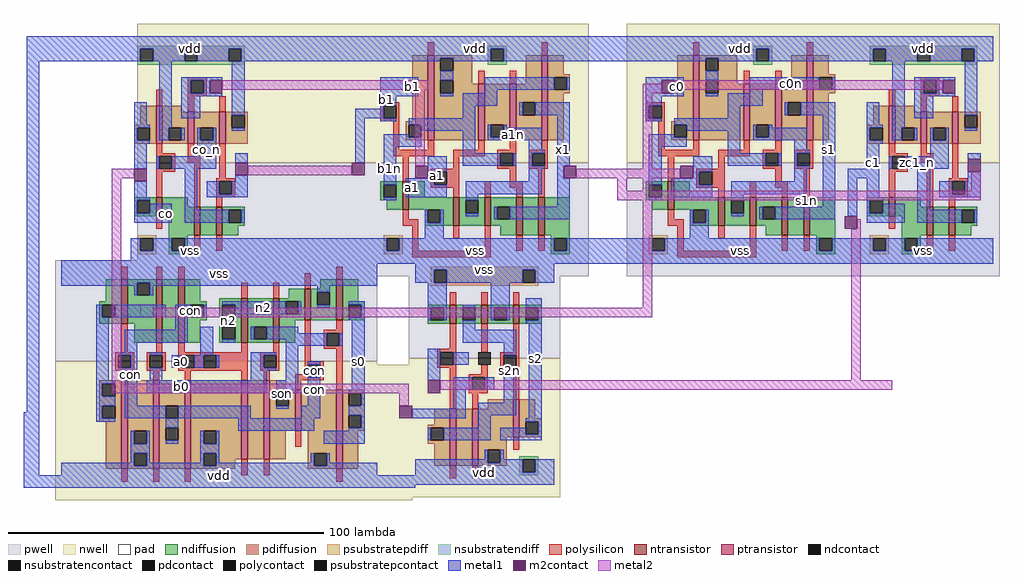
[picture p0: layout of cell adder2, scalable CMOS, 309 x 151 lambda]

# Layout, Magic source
magic
tech scmos
<< pwell >>
rect 174 71 317 102
rect 148 66 317 71
rect 329 66 447 102
rect 148 39 250 66
rect 260 40 308 66
<< nwell >>
rect 174 102 317 146
rect 329 102 447 146
rect 148 38 250 39
rect 260 38 308 40
rect 148 -4 308 38
rect 148 -5 261 -4
<< polysilicon >>
rect 266 136 268 140
rect 190 128 196 129
rect 180 120 182 125
rect 190 124 191 128
rect 195 124 196 128
rect 190 123 196 124
rect 190 118 192 123
rect 200 118 202 123
rect 251 120 257 121
rect 251 116 252 120
rect 256 116 257 120
rect 251 115 257 116
rect 180 105 182 108
rect 190 105 192 108
rect 180 104 186 105
rect 180 100 181 104
rect 185 100 186 104
rect 190 102 194 105
rect 180 99 186 100
rect 180 91 182 99
rect 192 88 194 102
rect 200 97 202 108
rect 255 106 257 115
rect 302 136 304 140
rect 350 136 352 140
rect 282 127 284 131
rect 292 127 294 131
rect 335 120 341 121
rect 335 116 336 120
rect 340 116 341 120
rect 335 115 341 116
rect 266 106 268 109
rect 282 106 284 109
rect 292 106 294 109
rect 302 106 304 109
rect 255 104 268 106
rect 274 104 284 106
rect 288 105 294 106
rect 199 96 205 97
rect 258 96 260 104
rect 274 100 276 104
rect 288 101 289 105
rect 293 101 294 105
rect 288 100 294 101
rect 298 105 304 106
rect 298 101 299 105
rect 303 101 304 105
rect 339 106 341 115
rect 386 136 388 140
rect 366 127 368 131
rect 376 127 378 131
rect 422 128 428 129
rect 412 120 414 125
rect 422 124 423 128
rect 427 124 428 128
rect 422 123 428 124
rect 350 106 352 109
rect 366 106 368 109
rect 376 106 378 109
rect 386 106 388 109
rect 422 118 424 123
rect 432 118 434 123
rect 339 104 352 106
rect 358 104 368 106
rect 372 105 378 106
rect 298 100 304 101
rect 267 99 276 100
rect 199 92 200 96
rect 204 92 205 96
rect 199 91 205 92
rect 199 88 201 91
rect 180 81 182 85
rect 267 95 268 99
rect 272 95 276 99
rect 292 96 294 100
rect 267 94 276 95
rect 274 91 276 94
rect 284 91 286 96
rect 292 94 296 96
rect 294 91 296 94
rect 301 91 303 100
rect 342 96 344 104
rect 358 100 360 104
rect 372 101 373 105
rect 377 101 378 105
rect 372 100 378 101
rect 382 105 388 106
rect 382 101 383 105
rect 387 101 388 105
rect 382 100 388 101
rect 412 105 414 108
rect 422 105 424 108
rect 412 104 418 105
rect 412 100 413 104
rect 417 100 418 104
rect 422 102 426 105
rect 351 99 360 100
rect 258 84 260 87
rect 258 82 263 84
rect 192 74 194 79
rect 199 74 201 79
rect 261 74 263 82
rect 274 78 276 82
rect 284 74 286 82
rect 351 95 352 99
rect 356 95 360 99
rect 376 96 378 100
rect 351 94 360 95
rect 358 91 360 94
rect 368 91 370 96
rect 376 94 380 96
rect 378 91 380 94
rect 385 91 387 100
rect 412 99 418 100
rect 412 91 414 99
rect 342 84 344 87
rect 342 82 347 84
rect 294 74 296 79
rect 301 74 303 79
rect 261 72 286 74
rect 345 74 347 82
rect 358 78 360 82
rect 368 74 370 82
rect 424 88 426 102
rect 432 97 434 108
rect 431 96 437 97
rect 431 92 432 96
rect 436 92 437 96
rect 431 91 437 92
rect 431 88 433 91
rect 412 81 414 85
rect 378 74 380 79
rect 385 74 387 79
rect 345 72 370 74
rect 424 74 426 79
rect 431 74 433 79
rect 169 65 171 69
rect 180 65 182 69
rect 187 65 189 69
rect 169 42 171 51
rect 207 59 209 64
rect 217 59 219 64
rect 227 62 229 67
rect 237 65 239 69
rect 273 57 275 61
rect 283 57 285 61
rect 293 57 295 61
rect 180 42 182 45
rect 187 42 189 45
rect 207 42 209 45
rect 217 42 219 45
rect 167 41 173 42
rect 167 37 168 41
rect 172 37 173 41
rect 167 36 173 37
rect 177 41 183 42
rect 177 37 178 41
rect 182 37 183 41
rect 177 36 183 37
rect 187 41 209 42
rect 187 37 188 41
rect 192 37 195 41
rect 199 37 209 41
rect 187 36 209 37
rect 213 41 219 42
rect 213 37 214 41
rect 218 37 219 41
rect 213 36 219 37
rect 227 39 229 52
rect 237 49 239 52
rect 233 48 239 49
rect 233 44 234 48
rect 238 44 239 48
rect 233 43 239 44
rect 273 43 275 51
rect 227 38 233 39
rect 169 33 171 36
rect 179 33 181 36
rect 189 33 191 36
rect 207 33 209 36
rect 214 33 216 36
rect 227 35 228 38
rect 224 34 228 35
rect 232 34 233 38
rect 224 33 233 34
rect 224 30 226 33
rect 237 30 239 43
rect 269 42 275 43
rect 283 42 285 51
rect 293 42 295 51
rect 269 38 270 42
rect 274 38 275 42
rect 289 41 295 42
rect 269 37 275 38
rect 224 12 226 17
rect 169 1 171 5
rect 179 1 181 5
rect 189 1 191 5
rect 207 3 209 8
rect 214 3 216 8
rect 273 24 275 37
rect 283 35 285 38
rect 289 37 290 41
rect 294 37 295 41
rect 289 36 295 37
rect 279 34 285 35
rect 279 30 280 34
rect 284 30 285 34
rect 279 29 285 30
rect 280 24 282 29
rect 293 27 295 36
rect 293 11 295 15
rect 237 1 239 5
rect 273 2 275 6
rect 280 2 282 6
<< ndiffusion >>
rect 173 90 180 91
rect 173 86 174 90
rect 178 86 180 90
rect 173 85 180 86
rect 182 88 190 91
rect 251 95 258 96
rect 251 91 252 95
rect 256 91 258 95
rect 251 90 258 91
rect 182 85 192 88
rect 184 79 192 85
rect 194 79 199 88
rect 201 87 208 88
rect 253 87 258 90
rect 260 91 265 96
rect 335 95 342 96
rect 335 91 336 95
rect 340 91 342 95
rect 260 87 274 91
rect 201 83 203 87
rect 207 83 208 87
rect 201 82 208 83
rect 265 83 266 87
rect 270 83 274 87
rect 265 82 274 83
rect 276 90 284 91
rect 276 86 278 90
rect 282 86 284 90
rect 276 82 284 86
rect 286 88 294 91
rect 286 84 288 88
rect 292 84 294 88
rect 286 82 294 84
rect 201 79 206 82
rect 184 78 190 79
rect 184 74 185 78
rect 189 74 190 78
rect 184 73 190 74
rect 289 79 294 82
rect 296 79 301 91
rect 303 79 311 91
rect 335 90 342 91
rect 337 87 342 90
rect 344 91 349 96
rect 344 87 358 91
rect 349 83 350 87
rect 354 83 358 87
rect 349 82 358 83
rect 360 90 368 91
rect 360 86 362 90
rect 366 86 368 90
rect 360 82 368 86
rect 370 88 378 91
rect 370 84 372 88
rect 376 84 378 88
rect 370 82 378 84
rect 305 78 311 79
rect 305 74 306 78
rect 310 74 311 78
rect 305 73 311 74
rect 373 79 378 82
rect 380 79 385 91
rect 387 79 395 91
rect 405 90 412 91
rect 405 86 406 90
rect 410 86 412 90
rect 405 85 412 86
rect 414 88 422 91
rect 414 85 424 88
rect 416 79 424 85
rect 426 79 431 88
rect 433 87 440 88
rect 433 83 435 87
rect 439 83 440 87
rect 433 82 440 83
rect 433 79 438 82
rect 389 78 395 79
rect 389 74 390 78
rect 394 74 395 78
rect 389 73 395 74
rect 416 78 422 79
rect 416 74 417 78
rect 421 74 422 78
rect 416 73 422 74
rect 164 58 169 65
rect 162 57 169 58
rect 162 53 163 57
rect 167 53 169 57
rect 162 51 169 53
rect 171 64 180 65
rect 171 60 174 64
rect 178 60 180 64
rect 171 51 180 60
rect 173 45 180 51
rect 182 45 187 65
rect 189 58 194 65
rect 232 62 237 65
rect 222 59 227 62
rect 189 57 196 58
rect 189 53 191 57
rect 195 53 196 57
rect 189 52 196 53
rect 200 57 207 59
rect 200 53 201 57
rect 205 53 207 57
rect 189 45 194 52
rect 200 50 207 53
rect 200 46 201 50
rect 205 46 207 50
rect 200 45 207 46
rect 209 50 217 59
rect 209 46 211 50
rect 215 46 217 50
rect 209 45 217 46
rect 219 58 227 59
rect 219 54 221 58
rect 225 54 227 58
rect 219 52 227 54
rect 229 61 237 62
rect 229 57 231 61
rect 235 57 237 61
rect 229 52 237 57
rect 239 58 244 65
rect 239 57 246 58
rect 239 53 241 57
rect 245 53 246 57
rect 239 52 246 53
rect 266 56 273 57
rect 266 52 267 56
rect 271 52 273 56
rect 219 45 224 52
rect 266 51 273 52
rect 275 56 283 57
rect 275 52 277 56
rect 281 52 283 56
rect 275 51 283 52
rect 285 56 293 57
rect 285 52 287 56
rect 291 52 293 56
rect 285 51 293 52
rect 295 56 302 57
rect 295 52 297 56
rect 301 52 302 56
rect 295 51 302 52
<< pdiffusion >>
rect 175 114 180 120
rect 173 113 180 114
rect 173 109 174 113
rect 178 109 180 113
rect 173 108 180 109
rect 182 118 188 120
rect 182 113 190 118
rect 182 109 184 113
rect 188 109 190 113
rect 182 108 190 109
rect 192 113 200 118
rect 192 109 194 113
rect 198 109 200 113
rect 192 108 200 109
rect 202 117 209 118
rect 202 113 204 117
rect 208 113 209 117
rect 261 115 266 136
rect 202 108 209 113
rect 259 114 266 115
rect 259 110 260 114
rect 264 110 266 114
rect 259 109 266 110
rect 268 135 280 136
rect 268 131 270 135
rect 274 131 280 135
rect 268 128 280 131
rect 268 124 270 128
rect 274 127 280 128
rect 297 127 302 136
rect 274 124 282 127
rect 268 109 282 124
rect 284 114 292 127
rect 284 110 286 114
rect 290 110 292 114
rect 284 109 292 110
rect 294 121 302 127
rect 294 117 296 121
rect 300 117 302 121
rect 294 109 302 117
rect 304 130 309 136
rect 304 129 311 130
rect 304 125 306 129
rect 310 125 311 129
rect 304 124 311 125
rect 304 109 309 124
rect 345 115 350 136
rect 343 114 350 115
rect 343 110 344 114
rect 348 110 350 114
rect 343 109 350 110
rect 352 135 364 136
rect 352 131 354 135
rect 358 131 364 135
rect 352 128 364 131
rect 352 124 354 128
rect 358 127 364 128
rect 381 127 386 136
rect 358 124 366 127
rect 352 109 366 124
rect 368 114 376 127
rect 368 110 370 114
rect 374 110 376 114
rect 368 109 376 110
rect 378 121 386 127
rect 378 117 380 121
rect 384 117 386 121
rect 378 109 386 117
rect 388 130 393 136
rect 388 129 395 130
rect 388 125 390 129
rect 394 125 395 129
rect 388 124 395 125
rect 388 109 393 124
rect 407 114 412 120
rect 405 113 412 114
rect 405 109 406 113
rect 410 109 412 113
rect 405 108 412 109
rect 414 118 420 120
rect 414 113 422 118
rect 414 109 416 113
rect 420 109 422 113
rect 414 108 422 109
rect 424 113 432 118
rect 424 109 426 113
rect 430 109 432 113
rect 424 108 432 109
rect 434 117 441 118
rect 434 113 436 117
rect 440 113 441 117
rect 434 108 441 113
rect 162 32 169 33
rect 162 28 163 32
rect 167 28 169 32
rect 162 25 169 28
rect 162 21 163 25
rect 167 21 169 25
rect 162 20 169 21
rect 164 5 169 20
rect 171 17 179 33
rect 171 13 173 17
rect 177 13 179 17
rect 171 10 179 13
rect 171 6 173 10
rect 177 6 179 10
rect 171 5 179 6
rect 181 25 189 33
rect 181 21 183 25
rect 187 21 189 25
rect 181 18 189 21
rect 181 14 183 18
rect 187 14 189 18
rect 181 5 189 14
rect 191 17 207 33
rect 191 13 195 17
rect 199 13 207 17
rect 191 10 207 13
rect 191 6 195 10
rect 199 8 207 10
rect 209 8 214 33
rect 216 30 221 33
rect 216 29 224 30
rect 216 25 218 29
rect 222 25 224 29
rect 216 17 224 25
rect 226 17 237 30
rect 216 8 221 17
rect 228 10 237 17
rect 199 6 205 8
rect 191 5 205 6
rect 228 6 230 10
rect 234 6 237 10
rect 228 5 237 6
rect 239 29 246 30
rect 239 25 241 29
rect 245 25 246 29
rect 239 22 246 25
rect 285 24 293 27
rect 239 18 241 22
rect 245 18 246 22
rect 268 19 273 24
rect 239 17 246 18
rect 266 18 273 19
rect 239 5 244 17
rect 266 14 267 18
rect 271 14 273 18
rect 266 13 273 14
rect 268 6 273 13
rect 275 6 280 24
rect 282 15 293 24
rect 295 21 300 27
rect 295 20 302 21
rect 295 16 297 20
rect 301 16 302 20
rect 295 15 302 16
rect 282 11 291 15
rect 282 7 285 11
rect 289 7 291 11
rect 282 6 291 7
<< metal1 >>
rect 139 138 445 142
rect 139 134 175 138
rect 179 134 189 138
rect 193 134 203 138
rect 207 135 286 138
rect 207 134 270 135
rect 139 23 143 134
rect 173 114 177 121
rect 173 113 178 114
rect 173 109 174 113
rect 181 113 185 134
rect 188 128 201 129
rect 188 124 191 128
rect 195 124 197 128
rect 188 123 201 124
rect 188 116 194 123
rect 204 117 208 134
rect 274 134 286 135
rect 290 135 370 138
rect 290 134 354 135
rect 251 123 263 129
rect 270 128 274 131
rect 358 134 370 135
rect 374 134 407 138
rect 411 134 421 138
rect 425 134 435 138
rect 439 134 445 138
rect 284 125 306 129
rect 310 125 311 129
rect 335 128 347 129
rect 284 124 288 125
rect 270 123 274 124
rect 251 120 256 123
rect 251 119 252 120
rect 181 109 184 113
rect 188 109 189 113
rect 193 109 194 113
rect 198 109 199 113
rect 204 112 208 113
rect 243 116 252 119
rect 277 120 288 124
rect 335 124 340 128
rect 344 124 347 128
rect 335 123 347 124
rect 354 128 358 131
rect 368 125 390 129
rect 394 125 395 129
rect 368 124 372 125
rect 354 123 358 124
rect 277 116 281 120
rect 295 117 296 121
rect 300 117 311 121
rect 173 108 178 109
rect 173 100 177 108
rect 193 104 199 109
rect 180 100 181 104
rect 185 100 199 104
rect 205 102 209 105
rect 243 102 246 116
rect 251 115 256 116
rect 260 114 281 116
rect 173 91 177 96
rect 173 90 178 91
rect 173 86 174 90
rect 178 86 185 89
rect 173 83 185 86
rect 189 87 193 100
rect 252 110 260 111
rect 264 112 281 114
rect 252 107 264 110
rect 205 96 209 98
rect 196 92 200 96
rect 204 92 209 96
rect 196 91 209 92
rect 252 95 256 107
rect 277 105 281 112
rect 285 110 286 114
rect 290 113 291 114
rect 290 110 302 113
rect 285 109 302 110
rect 298 106 302 109
rect 298 105 303 106
rect 266 99 272 104
rect 277 101 289 105
rect 293 101 294 105
rect 298 101 299 105
rect 266 97 268 99
rect 259 95 268 97
rect 298 100 303 101
rect 307 101 311 117
rect 335 120 340 123
rect 335 116 336 120
rect 361 120 372 124
rect 361 116 365 120
rect 379 117 380 121
rect 384 117 395 121
rect 335 115 340 116
rect 344 114 365 116
rect 336 110 344 111
rect 348 112 365 114
rect 336 107 348 110
rect 298 96 302 100
rect 259 91 272 95
rect 278 92 302 96
rect 307 97 309 101
rect 252 90 256 91
rect 278 90 282 92
rect 189 83 203 87
rect 207 83 208 87
rect 265 83 266 87
rect 270 83 271 87
rect 307 88 311 97
rect 336 95 340 107
rect 361 105 365 112
rect 369 110 370 114
rect 374 113 375 114
rect 374 110 386 113
rect 369 109 386 110
rect 382 106 386 109
rect 382 105 387 106
rect 350 99 356 104
rect 361 101 373 105
rect 377 101 378 105
rect 382 101 383 105
rect 350 97 352 99
rect 343 95 352 97
rect 382 100 387 101
rect 382 96 386 100
rect 343 91 356 95
rect 362 92 386 96
rect 336 90 340 91
rect 362 90 366 92
rect 278 85 282 86
rect 287 84 288 88
rect 292 84 311 88
rect 265 78 271 83
rect 349 83 350 87
rect 354 83 355 87
rect 391 88 395 117
rect 405 114 409 121
rect 405 113 410 114
rect 405 109 406 113
rect 413 113 417 134
rect 420 128 433 129
rect 420 124 423 128
rect 427 124 429 128
rect 420 123 433 124
rect 420 116 426 123
rect 436 117 440 134
rect 413 109 416 113
rect 420 109 421 113
rect 425 109 426 113
rect 430 109 431 113
rect 436 112 440 113
rect 405 108 410 109
rect 405 100 409 108
rect 425 104 431 109
rect 412 100 413 104
rect 417 100 431 104
rect 437 103 441 105
rect 362 85 366 86
rect 371 84 372 88
rect 376 84 395 88
rect 399 97 409 100
rect 399 85 402 97
rect 349 78 355 83
rect 405 91 409 97
rect 405 90 410 91
rect 405 86 406 90
rect 410 86 417 89
rect 405 83 417 86
rect 421 87 425 100
rect 437 96 441 99
rect 428 92 432 96
rect 436 92 441 96
rect 428 91 441 92
rect 421 83 435 87
rect 439 83 440 87
rect 172 74 175 78
rect 179 74 185 78
rect 189 74 253 78
rect 257 74 306 78
rect 310 74 337 78
rect 341 74 390 78
rect 394 74 407 78
rect 411 74 417 78
rect 421 74 445 78
rect 172 71 445 74
rect 150 70 445 71
rect 150 64 250 70
rect 262 68 306 70
rect 262 64 268 68
rect 272 64 296 68
rect 300 64 306 68
rect 150 63 174 64
rect 173 60 174 63
rect 178 63 250 64
rect 178 60 179 63
rect 231 61 235 63
rect 201 57 221 58
rect 138 3 143 23
rect 161 53 163 57
rect 167 53 183 57
rect 186 53 191 57
rect 195 53 196 57
rect 205 54 221 57
rect 225 54 226 58
rect 231 56 235 57
rect 241 57 246 58
rect 161 33 165 53
rect 186 49 190 53
rect 201 50 205 53
rect 245 53 246 57
rect 241 52 246 53
rect 266 56 272 64
rect 266 52 267 56
rect 271 52 272 56
rect 277 56 281 57
rect 286 56 292 64
rect 286 52 287 56
rect 291 52 292 56
rect 297 56 302 59
rect 301 52 302 56
rect 170 45 190 49
rect 170 42 174 45
rect 168 41 174 42
rect 172 37 174 41
rect 168 36 174 37
rect 161 32 167 33
rect 161 28 163 32
rect 161 25 167 28
rect 161 21 163 25
rect 170 25 174 36
rect 178 41 182 42
rect 194 41 198 50
rect 210 46 211 50
rect 215 48 225 50
rect 215 46 234 48
rect 201 45 205 46
rect 221 44 234 46
rect 238 44 239 48
rect 210 41 218 42
rect 185 37 188 41
rect 192 37 195 41
rect 199 37 200 41
rect 210 37 214 41
rect 178 33 182 37
rect 210 36 218 37
rect 210 33 215 36
rect 221 33 225 44
rect 177 29 215 33
rect 218 29 225 33
rect 228 38 232 39
rect 228 25 232 34
rect 242 30 246 52
rect 277 49 281 52
rect 297 51 302 52
rect 277 45 294 49
rect 170 21 183 25
rect 187 21 210 25
rect 218 24 222 25
rect 226 21 232 25
rect 241 29 246 30
rect 266 33 270 43
rect 274 38 279 42
rect 290 41 294 45
rect 274 30 280 34
rect 284 30 287 34
rect 245 25 246 29
rect 241 22 246 25
rect 161 20 167 21
rect 183 18 187 21
rect 172 13 173 17
rect 177 13 178 17
rect 206 17 230 21
rect 245 18 246 22
rect 274 24 278 30
rect 290 26 294 37
rect 261 21 278 24
rect 282 22 294 26
rect 282 18 286 22
rect 298 21 302 51
rect 297 20 302 21
rect 241 17 246 18
rect 183 13 187 14
rect 194 13 195 17
rect 199 13 200 17
rect 233 13 246 17
rect 266 14 267 18
rect 271 14 286 18
rect 289 16 297 18
rect 301 16 302 20
rect 289 14 302 16
rect 172 10 178 13
rect 172 7 173 10
rect 150 6 173 7
rect 177 7 178 10
rect 194 10 200 13
rect 194 7 195 10
rect 177 6 195 7
rect 199 7 200 10
rect 229 7 230 10
rect 199 6 230 7
rect 234 7 235 10
rect 284 8 285 11
rect 262 7 285 8
rect 289 8 290 11
rect 289 7 296 8
rect 234 6 250 7
rect 150 3 250 6
rect 262 4 296 7
rect 300 4 306 8
rect 262 3 306 4
rect 138 0 306 3
rect 138 -1 262 0
<< metal2 >>
rect 201 125 266 128
rect 166 97 173 100
rect 166 32 169 97
rect 209 98 242 101
rect 262 101 265 125
rect 334 124 340 127
rect 344 125 429 128
rect 334 100 337 124
rect 313 97 346 100
rect 326 93 329 97
rect 334 93 337 97
rect 438 93 441 99
rect 326 90 441 93
rect 334 56 337 90
rect 402 81 403 84
rect 179 53 337 56
rect 400 33 403 81
rect 166 29 260 32
rect 270 30 413 33
rect 257 25 260 29
<< ntransistor >>
rect 180 85 182 91
rect 192 79 194 88
rect 199 79 201 88
rect 258 87 260 96
rect 274 82 276 91
rect 284 82 286 91
rect 294 79 296 91
rect 301 79 303 91
rect 342 87 344 96
rect 358 82 360 91
rect 368 82 370 91
rect 378 79 380 91
rect 385 79 387 91
rect 412 85 414 91
rect 424 79 426 88
rect 431 79 433 88
rect 169 51 171 65
rect 180 45 182 65
rect 187 45 189 65
rect 207 45 209 59
rect 217 45 219 59
rect 227 52 229 62
rect 237 52 239 65
rect 273 51 275 57
rect 283 51 285 57
rect 293 51 295 57
<< ptransistor >>
rect 180 108 182 120
rect 190 108 192 118
rect 200 108 202 118
rect 266 109 268 136
rect 282 109 284 127
rect 292 109 294 127
rect 302 109 304 136
rect 350 109 352 136
rect 366 109 368 127
rect 376 109 378 127
rect 386 109 388 136
rect 412 108 414 120
rect 422 108 424 118
rect 432 108 434 118
rect 169 5 171 33
rect 179 5 181 33
rect 189 5 191 33
rect 207 8 209 33
rect 214 8 216 33
rect 224 17 226 30
rect 237 5 239 30
rect 273 6 275 24
rect 280 6 282 24
rect 293 15 295 27
<< polycontact >>
rect 191 124 195 128
rect 252 116 256 120
rect 181 100 185 104
rect 336 116 340 120
rect 289 101 293 105
rect 299 101 303 105
rect 423 124 427 128
rect 200 92 204 96
rect 268 95 272 99
rect 373 101 377 105
rect 383 101 387 105
rect 413 100 417 104
rect 352 95 356 99
rect 432 92 436 96
rect 168 37 172 41
rect 178 37 182 41
rect 188 37 192 41
rect 195 37 199 41
rect 214 37 218 41
rect 234 44 238 48
rect 228 34 232 38
rect 270 38 274 42
rect 282 38 286 42
rect 290 37 294 41
rect 280 30 284 34
<< ndcontact >>
rect 174 86 178 90
rect 252 91 256 95
rect 336 91 340 95
rect 203 83 207 87
rect 266 83 270 87
rect 278 86 282 90
rect 288 84 292 88
rect 185 74 189 78
rect 350 83 354 87
rect 362 86 366 90
rect 372 84 376 88
rect 306 74 310 78
rect 406 86 410 90
rect 435 83 439 87
rect 390 74 394 78
rect 417 74 421 78
rect 163 53 167 57
rect 174 60 178 64
rect 191 53 195 57
rect 201 53 205 57
rect 201 46 205 50
rect 211 46 215 50
rect 221 54 225 58
rect 231 57 235 61
rect 241 53 245 57
rect 267 52 271 56
rect 277 52 281 56
rect 287 52 291 56
rect 297 52 301 56
<< pdcontact >>
rect 174 109 178 113
rect 184 109 188 113
rect 194 109 198 113
rect 204 113 208 117
rect 260 110 264 114
rect 270 131 274 135
rect 270 124 274 128
rect 286 110 290 114
rect 296 117 300 121
rect 306 125 310 129
rect 344 110 348 114
rect 354 131 358 135
rect 354 124 358 128
rect 370 110 374 114
rect 380 117 384 121
rect 390 125 394 129
rect 406 109 410 113
rect 416 109 420 113
rect 426 109 430 113
rect 436 113 440 117
rect 163 28 167 32
rect 163 21 167 25
rect 173 13 177 17
rect 173 6 177 10
rect 183 21 187 25
rect 183 14 187 18
rect 195 13 199 17
rect 195 6 199 10
rect 218 25 222 29
rect 230 6 234 10
rect 241 25 245 29
rect 241 18 245 22
rect 267 14 271 18
rect 297 16 301 20
rect 285 7 289 11
<< m2contact >>
rect 197 124 201 128
rect 340 124 344 128
rect 173 96 177 100
rect 205 98 209 102
rect 242 98 246 102
rect 262 97 266 101
rect 309 97 313 101
rect 346 97 350 101
rect 429 124 433 128
rect 398 81 402 85
rect 437 99 441 103
rect 266 29 270 33
rect 257 21 261 25
<< psubstratepcontact >>
rect 175 74 179 78
rect 253 74 257 78
rect 337 74 341 78
rect 407 74 411 78
rect 268 64 272 68
rect 296 64 300 68
<< nsubstratencontact >>
rect 175 134 179 138
rect 189 134 193 138
rect 203 134 207 138
rect 286 134 290 138
rect 370 134 374 138
rect 407 134 411 138
rect 421 134 425 138
rect 435 134 439 138
rect 296 4 300 8
<< psubstratepdiff >>
rect 174 78 180 79
rect 174 74 175 78
rect 179 74 180 78
rect 174 73 180 74
rect 252 78 258 79
rect 252 74 253 78
rect 257 74 258 78
rect 252 73 258 74
rect 336 78 342 79
rect 336 74 337 78
rect 341 74 342 78
rect 336 73 342 74
rect 406 78 412 79
rect 406 74 407 78
rect 411 74 412 78
rect 406 73 412 74
rect 267 68 301 69
rect 267 64 268 68
rect 272 64 296 68
rect 300 64 301 68
rect 267 63 301 64
<< nsubstratendiff >>
rect 174 138 208 139
rect 174 134 175 138
rect 179 134 189 138
rect 193 134 203 138
rect 207 134 208 138
rect 285 138 291 139
rect 174 133 208 134
rect 285 134 286 138
rect 290 134 291 138
rect 369 138 375 139
rect 285 133 291 134
rect 369 134 370 138
rect 374 134 375 138
rect 406 138 440 139
rect 369 133 375 134
rect 406 134 407 138
rect 411 134 421 138
rect 425 134 435 138
rect 439 134 440 138
rect 406 133 440 134
rect 295 8 301 9
rect 295 4 296 8
rect 300 4 301 8
rect 295 3 301 4
<< pad >>
rect 175 53 179 57
<< labels >>
rlabel metal1 281 74 281 74 6 vss
rlabel metal1 281 138 281 138 6 vdd
rlabel metal1 365 74 365 74 6 vss
rlabel metal1 365 138 365 138 6 vdd
rlabel metal1 191 74 191 74 6 vss
rlabel metal1 191 138 191 138 6 vdd
rlabel metal1 423 138 423 138 6 vdd
rlabel metal1 423 74 423 74 6 vss
rlabel metal1 284 68 284 68 2 vss
rlabel metal1 284 4 284 4 2 vdd
rlabel metal1 196 106 196 106 1 co_n
rlabel metal1 183 86 183 86 1 co
rlabel metal1 407 102 407 102 1 c1
rlabel metal1 421 102 421 102 1 zc1_n
rlabel metal1 172 35 172 35 2 con
rlabel metal1 191 55 191 55 2 con
rlabel metal1 200 3 200 3 2 vdd
rlabel metal1 214 56 214 56 2 n2
rlabel metal1 203 52 203 52 2 n2
rlabel metal1 200 67 200 67 2 vss
rlabel metal1 230 30 230 30 2 con
rlabel metal1 220 29 220 29 2 son
rlabel polycontact 230 36 230 36 2 con
rlabel polycontact 269 98 269 98 1 a1
rlabel metal1 261 94 261 94 1 a1
rlabel metal1 253 122 253 122 1 b1
rlabel metal2 261 126 261 126 1 b1
rlabel metal1 254 100 254 100 1 b1n
rlabel ptransistor 293 111 293 111 1 a1n
rlabel metal1 309 106 309 106 1 x1
rlabel metal2 345 126 345 126 1 c0
rlabel metal1 393 106 393 106 1 s1
rlabel ntransistor 386 90 386 90 1 s1n
rlabel metal2 381 127 381 127 1 c0n
rlabel metal1 300 40 300 40 1 s2
rlabel metal1 292 36 292 36 1 s2n
rlabel polycontact 188 39 188 39 1 a0
rlabel metal2 188 31 188 31 1 b0
rlabel metal1 244 39 244 39 1 s0
<< end >>
